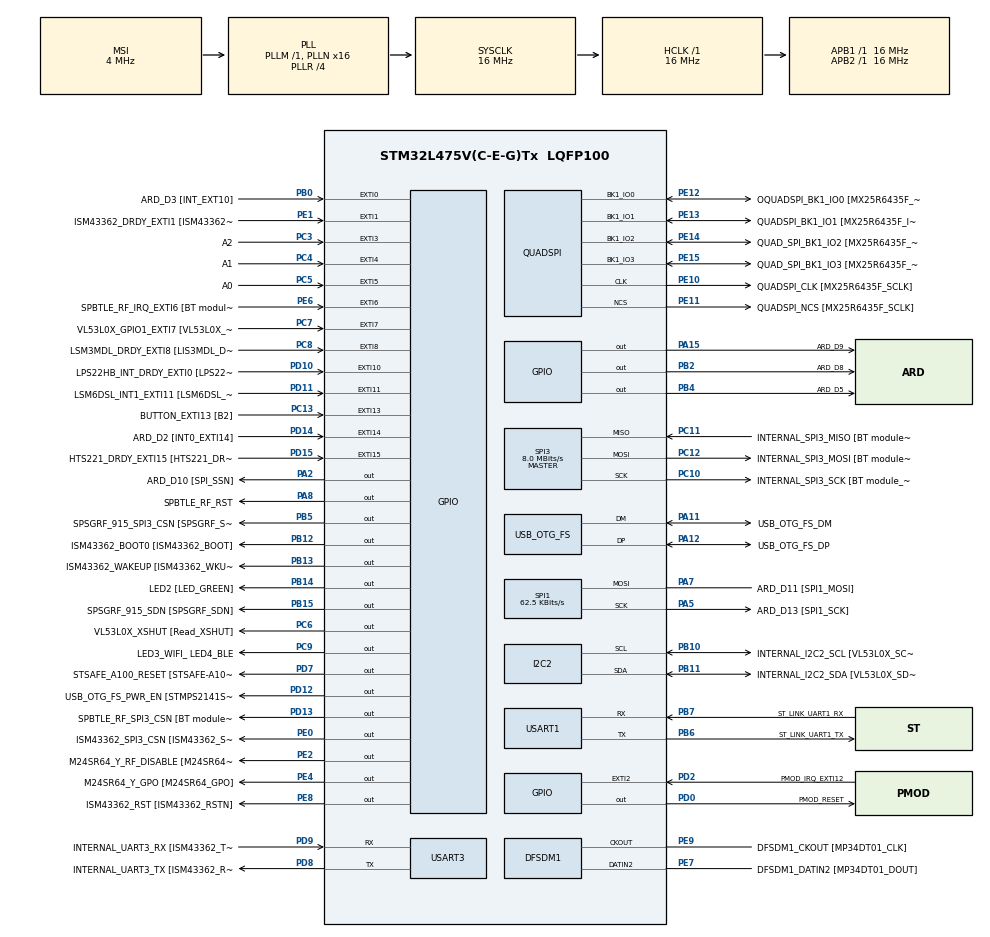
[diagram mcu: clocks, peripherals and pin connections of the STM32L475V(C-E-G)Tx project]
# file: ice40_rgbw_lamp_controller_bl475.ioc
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I2C2.Timing=0x00303D5B
Mcu.Family=STM32L4
Mcu.Name=STM32L475V(C-E-G)Tx
Mcu.Package=LQFP100
NVIC.EXTI15_10_IRQn=true\:0\:0\:false\:false\:true\:true\:true\:true
NVIC.EXTI3_IRQn=true\:0\:0\:false\:false\:true\:true\:true\:true
NVIC.EXTI4_IRQn=true\:0\:0\:false\:false\:true\:true\:true\:true
NVIC.EXTI9_5_IRQn=true\:0\:0\:false\:false\:true\:true\:true\:true
NVIC.PriorityGroup=NVIC_PRIORITYGROUP_4
NVIC.SPI1_IRQn=true\:0\:0\:false\:false\:true\:true\:true\:true
NVIC.USART1_IRQn=true\:0\:0\:false\:false\:true\:true\:true\:true
PA0.GPIO_Label=ARD_D1 [UART4_TX]
PA0.Signal=UART4_TX
PA1.GPIO_Label=ARD_D0 [UART4_RX]
PA1.Signal=UART4_RX
PA10.GPIO_Label=USB_OTG_FS_ID
PA10.Signal=USB_OTG_FS_ID
PA11.GPIO_Label=USB_OTG_FS_DM
PA11.Mode=Device_Only
PA11.Signal=USB_OTG_FS_DM
PA12.GPIO_Label=USB_OTG_FS_DP
PA12.Mode=Device_Only
PA12.Signal=USB_OTG_FS_DP
PA13\ (JTMS-SWDIO).GPIO_Label=SYS_JTMS_SWDIO
PA13\ (JTMS-SWDIO).Mode=Serial_Wire
PA13\ (JTMS-SWDIO).Signal=SYS_JTMS-SWDIO
PA14\ (JTCK-SWCLK).GPIO_Label=SYS_JTCK_SWCLK
PA14\ (JTCK-SWCLK).Mode=Serial_Wire
PA14\ (JTCK-SWCLK).Signal=SYS_JTCK-SWCLK
PA15\ (JTDI).GPIO_Label=ARD_D9
PA15\ (JTDI).Signal=GPIO_Output
PA2.GPIO_Label=ARD_D10 [SPI_SSN]
PA2.Signal=GPIO_Output
PA3.GPIO_Label=ARD_D4
PA3.Signal=S_TIM2_CH4
PA4.GPIO_Label=ARD_D7
PA4.Signal=ADCx_IN9
PA5.GPIO_Label=ARD_D13 [SPI1_SCK]
PA5.Mode=Simplex_Bidirectional_Master
PA5.Signal=SPI1_SCK
PA6.GPIO_Label=ARD_D12 [SPI1_MISO]
PA6.Signal=SPI1_MISO
PA7.GPIO_Label=ARD_D11 [SPI1_MOSI]
PA7.Mode=Simplex_Bidirectional_Master
PA7.Signal=SPI1_MOSI
PA8.GPIO_Label=SPBTLE_RF_RST
PA8.Signal=GPIO_Output
PA9.GPIO_Label=USB_OTG_FS_VBUS [STMPS2141STR_OUT]
PA9.Signal=USB_OTG_FS_VBUS
PB0.GPIO_Label=ARD_D3 [INT_EXT10]
PB0.Signal=GPXTI0
PB1.GPIO_Label=ARD_D6 [ADC1_IN6]
PB1.Signal=ADCx_IN16
PB10.GPIO_Label=INTERNAL_I2C2_SCL [VL53L0X_SCL]
PB10.GPIO_Pu=GPIO_PULLUP
PB10.Mode=I2C
PB10.Signal=I2C2_SCL
PB11.GPIO_Label=INTERNAL_I2C2_SDA [VL53L0X_SDA]
PB11.GPIO_Pu=GPIO_PULLUP
PB11.Mode=I2C
PB11.Signal=I2C2_SDA
PB12.GPIO_Label=ISM43362_BOOT0 [ISM43362_BOOT]
PB12.Signal=GPIO_Output
PB13.GPIO_Label=ISM43362_WAKEUP [ISM43362_WKUP]
PB13.Signal=GPIO_Output
PB14.GPIO_Label=LED2 [LED_GREEN]
PB14.Signal=GPIO_Output
PB15.GPIO_Label=SPSGRF_915_SDN [SPSGRF_SDN]
PB15.Signal=GPIO_Output
PB2.GPIO_Label=ARD_D8
PB2.PinState=GPIO_PIN_SET
PB2.Signal=GPIO_Output
PB3\ (JTDO-TRACESWO).GPIO_Label=SYS_JTD0_SWO
PB3\ (JTDO-TRACESWO).Signal=SYS_JTDO-SWO
PB4\ (NJTRST).GPIO_Label=ARD_D5
PB4\ (NJTRST).Signal=GPIO_Output
PB5.GPIO_Label=SPSGRF_915_SPI3_CSN [SPSGRF_SPI_CS]
PB5.PinState=GPIO_PIN_SET
PB5.Signal=GPIO_Output
PB6.GPIO_Label=ST_LINK_UART1_TX
PB6.Mode=Asynchronous
PB6.Signal=USART1_TX
PB7.GPIO_Label=ST_LINK_UART1_RX
PB7.Mode=Asynchronous
PB7.Signal=USART1_RX
PB8.GPIO_Label=ARD_D15 [I2C1_SCL]
PB8.Signal=I2C1_SCL
PB9.GPIO_Label=ARD_D14 [I2C1_SDA]
PB9.Signal=I2C1_SDA
PC0.GPIO_Label=ARD_A5 [ADC]
PC0.Signal=ADCx_IN1
PC1.GPIO_Label=ARD_A4 [ADC]
PC1.Signal=ADCx_IN2
PC10.GPIO_Label=INTERNAL_SPI3_SCK [BT module_SPI_SCLK] [ISM43362_SCK]
PC10.Mode=Full_Duplex_Master
PC10.Signal=SPI3_SCK
PC11.GPIO_Label=INTERNAL_SPI3_MISO [BT module_SPI_MISO] [ISM43362_MISO]
PC11.Mode=Full_Duplex_Master
PC11.Signal=SPI3_MISO
PC12.GPIO_Label=INTERNAL_SPI3_MOSI [BT module_SPI_MOSI] [ISM43362_MOSI]
PC12.Mode=Full_Duplex_Master
PC12.Signal=SPI3_MOSI
PC13.GPIO_Label=BUTTON_EXTI13 [B2]
PC13.GPIO_ModeDefaultEXTI=GPIO_MODE_IT_FALLING
PC13.Signal=GPXTI13
PC14-OSC32_IN\ (PC14).Mode=LSE-External-Oscillator
PC14-OSC32_IN\ (PC14).Signal=RCC_OSC32_IN
PC15-OSC32_OUT\ (PC15).Mode=LSE-External-Oscillator
PC15-OSC32_OUT\ (PC15).Signal=RCC_OSC32_OUT
PC2.GPIO_Label=ARD_A3 [ADC]
PC2.Signal=ADCx_IN3
PC3.GPIO_Label=A2
PC3.GPIO_ModeDefaultEXTI=GPIO_MODE_IT_FALLING
PC3.GPIO_PuPd=GPIO_PULLUP
PC3.Signal=GPXTI3
PC4.GPIO_Label=A1
PC4.GPIO_ModeDefaultEXTI=GPIO_MODE_IT_FALLING
PC4.GPIO_PuPd=GPIO_PULLUP
PC4.Signal=GPXTI4
PC5.GPIO_Label=A0
PC5.GPIO_ModeDefaultEXTI=GPIO_MODE_IT_FALLING
PC5.GPIO_PuPd=GPIO_PULLUP
PC5.Signal=GPXTI5
PC6.GPIO_Label=VL53L0X_XSHUT [Read_XSHUT]
PC6.Signal=GPIO_Output
PC7.GPIO_Label=VL53L0X_GPIO1_EXTI7 [VL53L0X_GPIO1]
PC7.Signal=GPXTI7
PC8.GPIO_Label=LSM3MDL_DRDY_EXTI8 [LIS3MDL_DRDY]
PC8.Signal=GPXTI8
PC9.GPIO_Label=LED3_WIFI_ LED4_BLE
PC9.Signal=GPIO_Output
PD0.GPIO_Label=PMOD_RESET
PD0.Signal=GPIO_Output
PD1.GPIO_Label=PMOD_SPI2_SCK
PD1.Signal=SPI2_SCK
PD10.GPIO_Label=LPS22HB_INT_DRDY_EXTI0 [LPS22HB_INT_DRDY] 
PD10.Signal=GPXTI10
PD11.GPIO_Label=LSM6DSL_INT1_EXTI11 [LSM6DSL_INT1]
PD11.Signal=GPXTI11
PD12.GPIO_Label=USB_OTG_FS_PWR_EN [STMPS2141STR_EN]
PD12.Signal=GPIO_Output
PD13.GPIO_Label=SPBTLE_RF_SPI3_CSN [BT module_SPI_CS]
PD13.PinState=GPIO_PIN_SET
PD13.Signal=GPIO_Output
PD14.GPIO_Label=ARD_D2 [INT0_EXTI14]
PD14.Signal=GPXTI14
PD15.GPIO_Label=HTS221_DRDY_EXTI15 [HTS221_DRDY]
PD15.Signal=GPXTI15
PD2.GPIO_Label=PMOD_IRQ_EXTI12
PD2.Signal=GPXTI2
PD3.GPIO_Label=PMOD_UART2_CTS
PD3.Signal=USART2_CTS
PD4.GPIO_Label=PMOD_UART2_RTS
PD4.Signal=USART2_RTS
PD5.GPIO_Label=PMOD_UART2_TX
PD5.Signal=USART2_TX
PD6.GPIO_Label=PMOD_UART2_RX
PD6.Signal=USART2_RX
PD7.GPIO_Label=STSAFE_A100_RESET [STSAFE-A100_RESET]
PD7.Signal=GPIO_Output
PD8.GPIO_Label=INTERNAL_UART3_TX [ISM43362_RX]
PD8.Mode=Asynchronous
PD8.Signal=USART3_TX
PD9.GPIO_Label=INTERNAL_UART3_RX [ISM43362_TX]
PD9.Mode=Asynchronous
PD9.Signal=USART3_RX
PE0.GPIO_Label=ISM43362_SPI3_CSN [ISM43362_SSN]
PE0.PinState=GPIO_PIN_SET
PE0.Signal=GPIO_Output
PE1.GPIO_Label=ISM43362_DRDY_EXTI1 [ISM43362_DATARDY]
PE1.Signal=GPXTI1
PE10.GPIO_Label=QUADSPI_CLK [MX25R6435F_SCLK]
PE10.Mode=Single Bank
PE10.Signal=QUADSPI_CLK
PE11.GPIO_Label=QUADSPI_NCS [MX25R6435F_SCLK]
PE11.Mode=Single Bank
PE11.Signal=QUADSPI_NCS
PE12.GPIO_Label=OQUADSPI_BK1_IO0 [MX25R6435F_IO0]
PE12.Mode=Single Bank
PE12.Signal=QUADSPI_BK1_IO0
PE13.GPIO_Label=QUADSPI_BK1_IO1 [MX25R6435F_IO1]
PE13.Mode=Single Bank
PE13.Signal=QUADSPI_BK1_IO1
PE14.GPIO_Label=QUAD_SPI_BK1_IO2 [MX25R6435F_IO2]
PE14.Mode=Single Bank
PE14.Signal=QUADSPI_BK1_IO2
PE15.GPIO_Label=QUAD_SPI_BK1_IO3 [MX25R6435F_IO3]
PE15.Mode=Single Bank
PE15.Signal=QUADSPI_BK1_IO3
PE2.GPIO_Label=M24SR64_Y_RF_DISABLE [M24SR64_RFDIS]
PE2.Signal=GPIO_Output
PE4.GPIO_Label=M24SR64_Y_GPO [M24SR64_GPO]
PE4.Signal=GPIO_Output
PE6.GPIO_Label=SPBTLE_RF_IRQ_EXTI6 [BT module_SPI_IRQ]
PE6.Signal=GPXTI6
PE7.GPIO_Label=DFSDM1_DATIN2 [MP34DT01_DOUT]
PE7.Signal=S_DATAIN2DFSDM1
PE8.GPIO_Label=ISM43362_RST [ISM43362_RSTN]
PE8.Signal=GPIO_Output
PE9.GPIO_Label=DFSDM1_CKOUT [MP34DT01_CLK]
PE9.Signal=S_CKOUTDFSDM1
ProjectManager.HeapSize=0x200
ProjectManager.StackSize=0x400
ProjectManager.TargetToolchain=STM32CubeIDE
QUADSPI.ClockPrescaler=2
QUADSPI.FifoThreshold=4
QUADSPI.FlashSize=23
QUADSPI.SampleShifting=QSPI_SAMPLE_SHIFTING_HALFCYCLE
RCC.ADCFreq_Value=48000000
RCC.AHBFreq_Value=16000000
RCC.APB1Freq_Value=16000000
RCC.APB1TimFreq_Value=16000000
RCC.APB2Freq_Value=16000000
RCC.APB2TimFreq_Value=16000000
RCC.CortexFreq_Value=16000000
RCC.HCLKFreq_Value=16000000
RCC.HSE_VALUE=8000000
RCC.HSI_VALUE=16000000
RCC.MSI_VALUE=4000000
RCC.PLLN=16
RCC.PLLR=RCC_PLLR_DIV4
RCC.PLLSAI1N=24
RCC.SYSCLKFreq_VALUE=16000000
RCC.SYSCLKSource=RCC_SYSCLKSOURCE_PLLCLK
RCC.USBFreq_Value=48000000
RCC.VCOOutputFreq_Value=64000000
SH.ADCx_IN1.0=ADC1_IN1
SH.ADCx_IN16.0=ADC1_IN16
SH.ADCx_IN2.0=ADC1_IN2
SH.ADCx_IN3.0=ADC1_IN3
SH.ADCx_IN9.0=ADC1_IN9
SH.S_CKOUTDFSDM1.0=DFSDM1_CKOUT,CKOUT
SH.S_CKOUTDFSDM1.1=DFSDM1_CKOUT,PDM_SPI_Input_from_ch12_and_Internal_Clock
SH.S_DATAIN2DFSDM1.0=DFSDM1_DATIN2,PDM_SPI_Input_from_ch12_and_Internal_Clock
SH.S_TIM2_CH4.0=TIM2_CH4
SPI1.BaudRatePrescaler=SPI_BAUDRATEPRESCALER_256
SPI1.CalculateBaudRate=62.5 KBits/s
SPI1.DataSize=SPI_DATASIZE_8BIT
SPI1.Direction=SPI_DIRECTION_1LINE
SPI1.Mode=SPI_MODE_MASTER
SPI1.VirtualType=VM_MASTER
SPI3.CalculateBaudRate=8.0 MBits/s
SPI3.Direction=SPI_DIRECTION_2LINES
SPI3.Mode=SPI_MODE_MASTER
SPI3.VirtualType=VM_MASTER
USART1.VirtualMode-Asynchronous=VM_ASYNC
USART3.VirtualMode-Asynchronous=VM_ASYNC
USB_OTG_FS.VirtualMode=Device_Only
board=B-L475E-IOT01A2

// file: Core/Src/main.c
/* USER CODE BEGIN Header */
/**
 ******************************************************************************
 * @file           : main.c
 * @brief          : Main program body
 ******************************************************************************
 * @attention
 *
 * Copyright (c) 2024 STMicroelectronics.
 * All rights reserved.
 *
 * This software is licensed under terms that can be found in the LICENSE file
 * in the root directory of this software component.
 * If no LICENSE file comes with this software, it is provided AS-IS.
 *
 ******************************************************************************
 */
/* USER CODE END Header */
#include "main.h"

/* USER CODE BEGIN PTD */

/* Define disponibili al sistema */

#define LAMP_DATA_START_POS 0
#define LAMP_DATA_W_POS (5-1)
#define LAMP_DATA_R_POS (2-1)
#define LAMP_DATA_G_POS (3-1)
#define LAMP_DATA_B_POS (4-1)
#define LAMP_DATA_BLOCK_IFC_POS (1-1)
#define LAMP_DATA_LINT_POS (6-1)
#define LAMP_DATA_RES_0_POS (7-1)
#define LAMP_DATA_RES_1_POS (8-1)
#define LAMP_DATA_END_POS 9
#define LAMP_DATA_ADC_COLOR_SLOT 42 // the answer to everything
#define LAMP_DATA_MAX_LINT 255
#define LAMP_DATA_MAX_WHITE 255

#define LAMP_DATA_ADC_CONST 4
#define LAMP_DATA_ADC_THR 2
#define LAMP_DATA_MAX_PWM 255
//#define ADC_THR_N -4

#define LAMP_TERM_FLAG_START_CHAR 0x24 //ascii $
#define LAMP_TERM_FLAG_STOP_CHAR 0x23 //ascii #
#define LAMP_TERM_CMD_MAX_LEN 10
#define LAMP_TERM_MARKER_CHAR 0x2E // ascii .
#define LAMP_TERM_PAYLOAD_LEN (10-1)
#define LAMP_TERM_BUFF_LEN (LAMP_TERM_PAYLOAD_LEN*2)-2

#define DEBOUNCE_TIME 30
#define PRESSED 0
#define NOT_PRESSED 1

/* Assgnazione bottoni */
#define  BUTTON_MAIN 0
//#define BUTTON_INCREMENT_LIGHT 0
//#define BUTTON_DECREMENT_LIGHT 1
#define TOTAL_BUTTONS 1

// Gestione analogiche
#define VUSB 1
#define VMAIN 0

#define cbi(sfr, bit) (_SFR_BYTE(sfr) &= ~_BV(bit))
#define sbi(sfr, bit) (_SFR_BYTE(sfr) |= _BV(bit))
#define ASYNC 0
#define NO_PARITY 0
#define STOP_BIT1 0
#define DATA_8BIT 0x06
#define SYSTEM_BAUD 19200

enum {
	readBtn, uartMode, readEnc, interpret, apply
};
/* USER CODE END PTD */

DFSDM_Channel_HandleTypeDef hdfsdm1_channel1;

I2C_HandleTypeDef hi2c2;

QSPI_HandleTypeDef hqspi;

SPI_HandleTypeDef hspi1;
SPI_HandleTypeDef hspi3;

UART_HandleTypeDef huart1;
UART_HandleTypeDef huart3;

PCD_HandleTypeDef hpcd_USB_OTG_FS;

/* USER CODE BEGIN PV */
static uint8_t rxComplete;
static uint8_t odd_updated = 0;
static uint16_t i;
static uint8_t rxStartLen;
uint8_t ch[1];
static uint8_t rxBuffer[LAMP_TERM_PAYLOAD_LEN], spiBuffer[8];

uint8_t btn_increment;
uint8_t btn_decrement;
uint8_t colorIndex = 0x12;
static uint8_t userMode;
static uint8_t state = readBtn;
static uint8_t mode = 0, lock = 0;

static unsigned char lamp_c2h(unsigned char msb, unsigned char lsb) {
	if ((msb < 'a' && msb > '9') || msb < '0' || msb > 'f'
			|| (lsb < 'a' && lsb > '9') || lsb < '0' || lsb > 'f') {
		// printf("Not HEX value. msb: %c, lsb: %c\n", msb, lsb);
		return 0;
	}
	if (msb >= 'a' && msb <= 'f') {
		msb = msb - 'a' + 10;
	} else {
		msb = msb - '0';
	}

	if (lsb >= 'a' && lsb <= 'f') {
		lsb = lsb - 'a' + 10;
	} else {
		lsb = lsb - '0';
	}
	return (lsb + (msb * 16));
}

static void spiFill(uint8_t id, uint8_t *data) {
	if (*data == 0x55)
		(*data)++;
	spiBuffer[id] = *data;
}

/* USER CODE END PV */

void SystemClock_Config(void);
static void MX_GPIO_Init(void);
static void MX_DFSDM1_Init(void);
static void MX_I2C2_Init(void);
static void MX_QUADSPI_Init(void);
static void MX_SPI3_Init(void);
static void MX_USART1_UART_Init(void);
static void MX_USART3_UART_Init(void);
static void MX_USB_OTG_FS_PCD_Init(void);
static void MX_SPI1_Init(void);
/* USER CODE BEGIN PFP */
uint8_t text[1];
uint8_t buffer_checker[32];
uint8_t cnt = 0;
/* USER CODE END PFP */

/* USER CODE BEGIN 0 */

void HAL_GPIO_EXTI_Callback(uint16_t GPIO_Pin) {

	if (GPIO_Pin == A0_Pin) {
		if (!lock)
			userMode = (userMode + 1);
		lock = 1;
		if (userMode == 3)
			userMode = 0;

		rxComplete = 0;
	}
	if (GPIO_Pin == A1_Pin) {
		btn_decrement = 3;
		rxComplete = 0;
	}
	if (GPIO_Pin == A2_Pin) {
		btn_increment = 3;
		rxComplete = 0;
	}

}

void HAL_UART_RxCpltCallback(UART_HandleTypeDef *huart) {

	rxBuffer[rxStartLen] = *(ch);
	HAL_UART_Receive_IT(&huart1, ch, 1);
	if (rxBuffer[rxStartLen] == LAMP_TERM_FLAG_START_CHAR) {
		rxStartLen = 0;
		odd_updated = 0;
	}

	else if ((((rxBuffer[rxStartLen] == LAMP_TERM_FLAG_STOP_CHAR)
			&& (rxStartLen == 0))
			|| (rxBuffer[rxStartLen] == LAMP_TERM_MARKER_CHAR))) {
		// Ignora il carattere
		asm("nop");

	} else if (rxBuffer[rxStartLen] == LAMP_TERM_FLAG_STOP_CHAR) {
		rxComplete = 1;
	} else {
		if (rxBuffer[rxStartLen] != LAMP_TERM_FLAG_STOP_CHAR) {
			odd_updated++;
			if (odd_updated == 2) {
				if (rxStartLen > 2) {
					asm("nop");
				}
				rxBuffer[rxStartLen - 1] = lamp_c2h(rxBuffer[rxStartLen - 1],
						rxBuffer[rxStartLen]);

				odd_updated = 0;
				rxStartLen--;
			}
			rxStartLen++;

		} else {

			rxComplete = 1;
			// no dummy read needed
			rxStartLen = 0;
		}
	}
}
/* USER CODE END 0 */

int main(void)
{

  /* MCU Configuration--------------------------------------------------------*/

  /* Reset of all peripherals, Initializes the Flash interface and the Systick. */
  HAL_Init();

  /* Configure the system clock */
  SystemClock_Config();

  /* Initialize all configured peripherals */
  MX_GPIO_Init();
  MX_DFSDM1_Init();
  MX_I2C2_Init();
  MX_QUADSPI_Init();
  MX_SPI3_Init();
  MX_USART1_UART_Init();
  MX_USART3_UART_Init();
  MX_USB_OTG_FS_PCD_Init();
  MX_SPI1_Init();
  /* USER CODE BEGIN 2 */
	HAL_UART_Receive_IT(&huart1, ch, 1);
  /* USER CODE END 2 */

  /* Infinite loop */
  /* USER CODE BEGIN WHILE */
	//lamp_c2h(rxBuffer[rxStartLen]);
	while (1) {

		if (rxComplete == 1) {
			// state = uartMode;
			mode = 0x21;
			mode = rxBuffer[LAMP_DATA_RES_1_POS];
			colorIndex = rxBuffer[LAMP_DATA_RES_0_POS];
			// state = interpret;
			// case interpret:

			/* 30 byte SPI lib */
			/* TX -> colorIndex, R, G, B, W, Lint, MODE(usa color index o rgbw) */
			/*RX -> niente. */
			//mode = 0xa4;
			spiBuffer[0] = 0x55;
			spiFill(1, &rxBuffer[LAMP_DATA_LINT_POS]);
			//spiFill(1, &l);
			spiFill(2, &colorIndex);
			spiFill(3, &rxBuffer[LAMP_DATA_R_POS]);
			spiFill(4, &rxBuffer[LAMP_DATA_G_POS]);
			spiFill(5, &rxBuffer[LAMP_DATA_B_POS]);
			spiFill(6, &rxBuffer[LAMP_DATA_W_POS]);
	//		spiFill(3, &r);
	//		spiFill(4, &g);
	//		spiFill(5, &b);
	//		spiFill(6, &w);
			spiFill(7, &mode);
	#if 1
			HAL_GPIO_WritePin(GPIOB, ARD_D8_Pin, GPIO_PIN_RESET);
			//for (i = 0; i <= 7; i++) {
			//SPDR = spiBuffer[i];
			HAL_SPI_Transmit(&hspi1, spiBuffer, 8, HAL_MAX_DELAY);
			//while (!(SPSR & (1 << SPIF))) {
			//	SPSR |= (1 << SPIF);
			//};
			//}
			HAL_GPIO_WritePin(GPIOB, ARD_D8_Pin, GPIO_PIN_SET);
			rxComplete = 0;
	#endif

		} else {
			if (rxComplete == 0) {
				//state = readEnc;
				switch (userMode) {
				case 0:
					//lamp_colorHandler(&sys.colorIndex, (LAMP_DATA_ADC_COLOR_SLOT*6));
					//lamp_handler(&sys.colorIndex, (LAMP_DATA_ADC_COLOR_SLOT*6));
					//  if (btn_decrement > 0 || btn_increment > 0)
					//  {
					colorIndex = colorIndex + btn_increment - btn_decrement;
					//  }

					break;

				case 1:
					//lamp_intensityHandler();
					//lamp_handler(&sys.RxBuffer[LAMP_DATA_LINT_POS], LAMP_DATA_MAX_LINT);

					rxBuffer[LAMP_DATA_LINT_POS] = (rxBuffer[LAMP_DATA_LINT_POS]
							+ btn_increment - btn_decrement);

					break;

				case 2:
					//lamp_whiteHandler();
					//lamp_handler(&sys.rxBuffer[LAMP_DATA_W_POS], LAMP_DATA_MAX_WHITE);

					rxBuffer[LAMP_DATA_W_POS] = (rxBuffer[LAMP_DATA_W_POS]
							+ btn_increment - btn_decrement);
					if (rxBuffer[LAMP_DATA_W_POS] < 7)
						rxBuffer[LAMP_DATA_W_POS] = 0;
					break;
				}
				btn_decrement = btn_increment = 0;
				mode = 0xa4;
				//state = interpret;
			}
		}

		state = readBtn;
		lock = 0;
		// break;

		// default:
		//break;
		//}
		// $00.rr.gg.bb.ww.19.00.00#
    /* USER CODE END WHILE */

	}
}

void SystemClock_Config(void)
{
  RCC_OscInitTypeDef RCC_OscInitStruct = {0};
  RCC_ClkInitTypeDef RCC_ClkInitStruct = {0};

  /** Configure the main internal regulator output voltage
  */
  if (HAL_PWREx_ControlVoltageScaling(PWR_REGULATOR_VOLTAGE_SCALE1) != HAL_OK)
  {
    Error_Handler();
  }

  /** Configure LSE Drive Capability
  */
  HAL_PWR_EnableBkUpAccess();
  __HAL_RCC_LSEDRIVE_CONFIG(RCC_LSEDRIVE_LOW);

  /** Initializes the RCC Oscillators according to the specified parameters
  * in the RCC_OscInitTypeDef structure.
  */
  RCC_OscInitStruct.OscillatorType = RCC_OSCILLATORTYPE_LSE|RCC_OSCILLATORTYPE_MSI;
  RCC_OscInitStruct.LSEState = RCC_LSE_ON;
  RCC_OscInitStruct.MSIState = RCC_MSI_ON;
  RCC_OscInitStruct.MSICalibrationValue = 0;
  RCC_OscInitStruct.MSIClockRange = RCC_MSIRANGE_6;
  RCC_OscInitStruct.PLL.PLLState = RCC_PLL_ON;
  RCC_OscInitStruct.PLL.PLLSource = RCC_PLLSOURCE_MSI;
  RCC_OscInitStruct.PLL.PLLM = 1;
  RCC_OscInitStruct.PLL.PLLN = 16;
  RCC_OscInitStruct.PLL.PLLP = RCC_PLLP_DIV7;
  RCC_OscInitStruct.PLL.PLLQ = RCC_PLLQ_DIV2;
  RCC_OscInitStruct.PLL.PLLR = RCC_PLLR_DIV4;
  if (HAL_RCC_OscConfig(&RCC_OscInitStruct) != HAL_OK)
  {
    Error_Handler();
  }

  /** Initializes the CPU, AHB and APB buses clocks
  */
  RCC_ClkInitStruct.ClockType = RCC_CLOCKTYPE_HCLK|RCC_CLOCKTYPE_SYSCLK
                              |RCC_CLOCKTYPE_PCLK1|RCC_CLOCKTYPE_PCLK2;
  RCC_ClkInitStruct.SYSCLKSource = RCC_SYSCLKSOURCE_PLLCLK;
  RCC_ClkInitStruct.AHBCLKDivider = RCC_SYSCLK_DIV1;
  RCC_ClkInitStruct.APB1CLKDivider = RCC_HCLK_DIV1;
  RCC_ClkInitStruct.APB2CLKDivider = RCC_HCLK_DIV1;

  if (HAL_RCC_ClockConfig(&RCC_ClkInitStruct, FLASH_LATENCY_0) != HAL_OK)
  {
    Error_Handler();
  }

  /** Enable MSI Auto calibration
  */
  HAL_RCCEx_EnableMSIPLLMode();
}

static void MX_DFSDM1_Init(void)
{

  hdfsdm1_channel1.Instance = DFSDM1_Channel1;
  hdfsdm1_channel1.Init.OutputClock.Activation = ENABLE;
  hdfsdm1_channel1.Init.OutputClock.Selection = DFSDM_CHANNEL_OUTPUT_CLOCK_SYSTEM;
  hdfsdm1_channel1.Init.OutputClock.Divider = 2;
  hdfsdm1_channel1.Init.Input.Multiplexer = DFSDM_CHANNEL_EXTERNAL_INPUTS;
  hdfsdm1_channel1.Init.Input.DataPacking = DFSDM_CHANNEL_STANDARD_MODE;
  hdfsdm1_channel1.Init.Input.Pins = DFSDM_CHANNEL_FOLLOWING_CHANNEL_PINS;
  hdfsdm1_channel1.Init.SerialInterface.Type = DFSDM_CHANNEL_SPI_RISING;
  hdfsdm1_channel1.Init.SerialInterface.SpiClock = DFSDM_CHANNEL_SPI_CLOCK_INTERNAL;
  hdfsdm1_channel1.Init.Awd.FilterOrder = DFSDM_CHANNEL_FASTSINC_ORDER;
  hdfsdm1_channel1.Init.Awd.Oversampling = 1;
  hdfsdm1_channel1.Init.Offset = 0;
  hdfsdm1_channel1.Init.RightBitShift = 0x00;
  if (HAL_DFSDM_ChannelInit(&hdfsdm1_channel1) != HAL_OK)
  {
    Error_Handler();
  }

}

static void MX_I2C2_Init(void)
{

  hi2c2.Instance = I2C2;
  hi2c2.Init.Timing = 0x00303D5B;
  hi2c2.Init.OwnAddress1 = 0;
  hi2c2.Init.AddressingMode = I2C_ADDRESSINGMODE_7BIT;
  hi2c2.Init.DualAddressMode = I2C_DUALADDRESS_DISABLE;
  hi2c2.Init.OwnAddress2 = 0;
  hi2c2.Init.OwnAddress2Masks = I2C_OA2_NOMASK;
  hi2c2.Init.GeneralCallMode = I2C_GENERALCALL_DISABLE;
  hi2c2.Init.NoStretchMode = I2C_NOSTRETCH_DISABLE;
  if (HAL_I2C_Init(&hi2c2) != HAL_OK)
  {
    Error_Handler();
  }

  /** Configure Analogue filter
  */
  if (HAL_I2CEx_ConfigAnalogFilter(&hi2c2, I2C_ANALOGFILTER_ENABLE) != HAL_OK)
  {
    Error_Handler();
  }

  /** Configure Digital filter
  */
  if (HAL_I2CEx_ConfigDigitalFilter(&hi2c2, 0) != HAL_OK)
  {
    Error_Handler();
  }

}

static void MX_QUADSPI_Init(void)
{

  /* QUADSPI parameter configuration*/
  hqspi.Instance = QUADSPI;
  hqspi.Init.ClockPrescaler = 2;
  hqspi.Init.FifoThreshold = 4;
  hqspi.Init.SampleShifting = QSPI_SAMPLE_SHIFTING_HALFCYCLE;
  hqspi.Init.FlashSize = 23;
  hqspi.Init.ChipSelectHighTime = QSPI_CS_HIGH_TIME_1_CYCLE;
  hqspi.Init.ClockMode = QSPI_CLOCK_MODE_0;
  if (HAL_QSPI_Init(&hqspi) != HAL_OK)
  {
    Error_Handler();
  }

}

static void MX_SPI1_Init(void)
{

  /* SPI1 parameter configuration*/
  hspi1.Instance = SPI1;
  hspi1.Init.Mode = SPI_MODE_MASTER;
  hspi1.Init.Direction = SPI_DIRECTION_1LINE;
  hspi1.Init.DataSize = SPI_DATASIZE_8BIT;
  hspi1.Init.CLKPolarity = SPI_POLARITY_LOW;
  hspi1.Init.CLKPhase = SPI_PHASE_1EDGE;
  hspi1.Init.NSS = SPI_NSS_SOFT;
  hspi1.Init.BaudRatePrescaler = SPI_BAUDRATEPRESCALER_256;
  hspi1.Init.FirstBit = SPI_FIRSTBIT_MSB;
  hspi1.Init.TIMode = SPI_TIMODE_DISABLE;
  hspi1.Init.CRCCalculation = SPI_CRCCALCULATION_DISABLE;
  hspi1.Init.CRCPolynomial = 7;
  hspi1.Init.CRCLength = SPI_CRC_LENGTH_DATASIZE;
  hspi1.Init.NSSPMode = SPI_NSS_PULSE_ENABLE;
  if (HAL_SPI_Init(&hspi1) != HAL_OK)
  {
    Error_Handler();
  }

}

static void MX_SPI3_Init(void)
{

  /* SPI3 parameter configuration*/
  hspi3.Instance = SPI3;
  hspi3.Init.Mode = SPI_MODE_MASTER;
  hspi3.Init.Direction = SPI_DIRECTION_2LINES;
  hspi3.Init.DataSize = SPI_DATASIZE_4BIT;
  hspi3.Init.CLKPolarity = SPI_POLARITY_LOW;
  hspi3.Init.CLKPhase = SPI_PHASE_1EDGE;
  hspi3.Init.NSS = SPI_NSS_SOFT;
  hspi3.Init.BaudRatePrescaler = SPI_BAUDRATEPRESCALER_2;
  hspi3.Init.FirstBit = SPI_FIRSTBIT_MSB;
  hspi3.Init.TIMode = SPI_TIMODE_DISABLE;
  hspi3.Init.CRCCalculation = SPI_CRCCALCULATION_DISABLE;
  hspi3.Init.CRCPolynomial = 7;
  hspi3.Init.CRCLength = SPI_CRC_LENGTH_DATASIZE;
  hspi3.Init.NSSPMode = SPI_NSS_PULSE_ENABLE;
  if (HAL_SPI_Init(&hspi3) != HAL_OK)
  {
    Error_Handler();
  }

}

static void MX_USART1_UART_Init(void)
{

  huart1.Instance = USART1;
  huart1.Init.BaudRate = 115200;
  huart1.Init.WordLength = UART_WORDLENGTH_8B;
  huart1.Init.StopBits = UART_STOPBITS_1;
  huart1.Init.Parity = UART_PARITY_NONE;
  huart1.Init.Mode = UART_MODE_TX_RX;
  huart1.Init.HwFlowCtl = UART_HWCONTROL_NONE;
  huart1.Init.OverSampling = UART_OVERSAMPLING_16;
  huart1.Init.OneBitSampling = UART_ONE_BIT_SAMPLE_DISABLE;
  huart1.AdvancedInit.AdvFeatureInit = UART_ADVFEATURE_NO_INIT;
  if (HAL_UART_Init(&huart1) != HAL_OK)
  {
    Error_Handler();
  }

}

static void MX_USART3_UART_Init(void)
{

  huart3.Instance = USART3;
  huart3.Init.BaudRate = 115200;
  huart3.Init.WordLength = UART_WORDLENGTH_8B;
  huart3.Init.StopBits = UART_STOPBITS_1;
  huart3.Init.Parity = UART_PARITY_NONE;
  huart3.Init.Mode = UART_MODE_TX_RX;
  huart3.Init.HwFlowCtl = UART_HWCONTROL_NONE;
  huart3.Init.OverSampling = UART_OVERSAMPLING_16;
  huart3.Init.OneBitSampling = UART_ONE_BIT_SAMPLE_DISABLE;
  huart3.AdvancedInit.AdvFeatureInit = UART_ADVFEATURE_NO_INIT;
  if (HAL_UART_Init(&huart3) != HAL_OK)
  {
    Error_Handler();
  }

}

static void MX_USB_OTG_FS_PCD_Init(void)
{

  hpcd_USB_OTG_FS.Instance = USB_OTG_FS;
  hpcd_USB_OTG_FS.Init.dev_endpoints = 6;
  hpcd_USB_OTG_FS.Init.speed = PCD_SPEED_FULL;
  hpcd_USB_OTG_FS.Init.phy_itface = PCD_PHY_EMBEDDED;
  hpcd_USB_OTG_FS.Init.Sof_enable = DISABLE;
  hpcd_USB_OTG_FS.Init.low_power_enable = DISABLE;
  hpcd_USB_OTG_FS.Init.lpm_enable = DISABLE;
  hpcd_USB_OTG_FS.Init.battery_charging_enable = DISABLE;
  hpcd_USB_OTG_FS.Init.use_dedicated_ep1 = DISABLE;
  hpcd_USB_OTG_FS.Init.vbus_sensing_enable = DISABLE;
  if (HAL_PCD_Init(&hpcd_USB_OTG_FS) != HAL_OK)
  {
    Error_Handler();
  }

}

static void MX_GPIO_Init(void)
{
  GPIO_InitTypeDef GPIO_InitStruct = {0};

  /* GPIO Ports Clock Enable */
  __HAL_RCC_GPIOE_CLK_ENABLE();
  __HAL_RCC_GPIOC_CLK_ENABLE();
  __HAL_RCC_GPIOA_CLK_ENABLE();
  __HAL_RCC_GPIOB_CLK_ENABLE();
  __HAL_RCC_GPIOD_CLK_ENABLE();

  /*Configure GPIO pin Output Level */
  HAL_GPIO_WritePin(GPIOE, M24SR64_Y_RF_DISABLE_Pin|M24SR64_Y_GPO_Pin|ISM43362_RST_Pin, GPIO_PIN_RESET);

  /*Configure GPIO pin Output Level */
  HAL_GPIO_WritePin(GPIOA, ARD_D10_Pin|SPBTLE_RF_RST_Pin|ARD_D9_Pin, GPIO_PIN_RESET);

  /*Configure GPIO pin Output Level */
  HAL_GPIO_WritePin(GPIOB, ARD_D8_Pin|SPSGRF_915_SPI3_CSN_Pin, GPIO_PIN_SET);

  /*Configure GPIO pin Output Level */
  HAL_GPIO_WritePin(GPIOB, ISM43362_BOOT0_Pin|ISM43362_WAKEUP_Pin|LED2_Pin|SPSGRF_915_SDN_Pin
                          |ARD_D5_Pin, GPIO_PIN_RESET);

  /*Configure GPIO pin Output Level */
  HAL_GPIO_WritePin(GPIOD, USB_OTG_FS_PWR_EN_Pin|PMOD_RESET_Pin|STSAFE_A100_RESET_Pin, GPIO_PIN_RESET);

  /*Configure GPIO pin Output Level */
  HAL_GPIO_WritePin(SPBTLE_RF_SPI3_CSN_GPIO_Port, SPBTLE_RF_SPI3_CSN_Pin, GPIO_PIN_SET);

  /*Configure GPIO pin Output Level */
  HAL_GPIO_WritePin(GPIOC, VL53L0X_XSHUT_Pin|LED3_WIFI__LED4_BLE_Pin, GPIO_PIN_RESET);

  /*Configure GPIO pin Output Level */
  HAL_GPIO_WritePin(ISM43362_SPI3_CSN_GPIO_Port, ISM43362_SPI3_CSN_Pin, GPIO_PIN_SET);

  /*Configure GPIO pins : M24SR64_Y_RF_DISABLE_Pin M24SR64_Y_GPO_Pin ISM43362_RST_Pin ISM43362_SPI3_CSN_Pin */
  GPIO_InitStruct.Pin = M24SR64_Y_RF_DISABLE_Pin|M24SR64_Y_GPO_Pin|ISM43362_RST_Pin|ISM43362_SPI3_CSN_Pin;
  GPIO_InitStruct.Mode = GPIO_MODE_OUTPUT_PP;
  GPIO_InitStruct.Pull = GPIO_NOPULL;
  GPIO_InitStruct.Speed = GPIO_SPEED_FREQ_LOW;
  HAL_GPIO_Init(GPIOE, &GPIO_InitStruct);

  /*Configure GPIO pins : SPBTLE_RF_IRQ_EXTI6_Pin ISM43362_DRDY_EXTI1_Pin */
  GPIO_InitStruct.Pin = SPBTLE_RF_IRQ_EXTI6_Pin|ISM43362_DRDY_EXTI1_Pin;
  GPIO_InitStruct.Mode = GPIO_MODE_IT_RISING;
  GPIO_InitStruct.Pull = GPIO_NOPULL;
  HAL_GPIO_Init(GPIOE, &GPIO_InitStruct);

  /*Configure GPIO pin : BUTTON_EXTI13_Pin */
  GPIO_InitStruct.Pin = BUTTON_EXTI13_Pin;
  GPIO_InitStruct.Mode = GPIO_MODE_IT_FALLING;
  GPIO_InitStruct.Pull = GPIO_NOPULL;
  HAL_GPIO_Init(BUTTON_EXTI13_GPIO_Port, &GPIO_InitStruct);

  /*Configure GPIO pins : ARD_A5_Pin ARD_A4_Pin ARD_A3_Pin */
  GPIO_InitStruct.Pin = ARD_A5_Pin|ARD_A4_Pin|ARD_A3_Pin;
  GPIO_InitStruct.Mode = GPIO_MODE_ANALOG_ADC_CONTROL;
  GPIO_InitStruct.Pull = GPIO_NOPULL;
  HAL_GPIO_Init(GPIOC, &GPIO_InitStruct);

  /*Configure GPIO pins : A2_Pin A1_Pin A0_Pin */
  GPIO_InitStruct.Pin = A2_Pin|A1_Pin|A0_Pin;
  GPIO_InitStruct.Mode = GPIO_MODE_IT_FALLING;
  GPIO_InitStruct.Pull = GPIO_PULLUP;
  HAL_GPIO_Init(GPIOC, &GPIO_InitStruct);

  /*Configure GPIO pins : ARD_D1_Pin ARD_D0_Pin */
  GPIO_InitStruct.Pin = ARD_D1_Pin|ARD_D0_Pin;
  GPIO_InitStruct.Mode = GPIO_MODE_AF_PP;
  GPIO_InitStruct.Pull = GPIO_NOPULL;
  GPIO_InitStruct.Speed = GPIO_SPEED_FREQ_VERY_HIGH;
  GPIO_InitStruct.Alternate = GPIO_AF8_UART4;
  HAL_GPIO_Init(GPIOA, &GPIO_InitStruct);

  /*Configure GPIO pins : ARD_D10_Pin SPBTLE_RF_RST_Pin ARD_D9_Pin */
  GPIO_InitStruct.Pin = ARD_D10_Pin|SPBTLE_RF_RST_Pin|ARD_D9_Pin;
  GPIO_InitStruct.Mode = GPIO_MODE_OUTPUT_PP;
  GPIO_InitStruct.Pull = GPIO_NOPULL;
  GPIO_InitStruct.Speed = GPIO_SPEED_FREQ_LOW;
  HAL_GPIO_Init(GPIOA, &GPIO_InitStruct);

  /*Configure GPIO pin : ARD_D4_Pin */
  GPIO_InitStruct.Pin = ARD_D4_Pin;
  GPIO_InitStruct.Mode = GPIO_MODE_AF_PP;
  GPIO_InitStruct.Pull = GPIO_NOPULL;
  GPIO_InitStruct.Speed = GPIO_SPEED_FREQ_LOW;
  GPIO_InitStruct.Alternate = GPIO_AF1_TIM2;
  HAL_GPIO_Init(ARD_D4_GPIO_Port, &GPIO_InitStruct);

  /*Configure GPIO pin : ARD_D7_Pin */
  GPIO_InitStruct.Pin = ARD_D7_Pin;
  GPIO_InitStruct.Mode = GPIO_MODE_ANALOG_ADC_CONTROL;
  GPIO_InitStruct.Pull = GPIO_NOPULL;
  HAL_GPIO_Init(ARD_D7_GPIO_Port, &GPIO_InitStruct);

  /*Configure GPIO pin : ARD_D3_Pin */
  GPIO_InitStruct.Pin = ARD_D3_Pin;
  GPIO_InitStruct.Mode = GPIO_MODE_IT_RISING;
  GPIO_InitStruct.Pull = GPIO_NOPULL;
  HAL_GPIO_Init(ARD_D3_GPIO_Port, &GPIO_InitStruct);

  /*Configure GPIO pin : ARD_D6_Pin */
  GPIO_InitStruct.Pin = ARD_D6_Pin;
  GPIO_InitStruct.Mode = GPIO_MODE_ANALOG_ADC_CONTROL;
  GPIO_InitStruct.Pull = GPIO_NOPULL;
  HAL_GPIO_Init(ARD_D6_GPIO_Port, &GPIO_InitStruct);

  /*Configure GPIO pins : ARD_D8_Pin ISM43362_BOOT0_Pin ISM43362_WAKEUP_Pin LED2_Pin
                           SPSGRF_915_SDN_Pin ARD_D5_Pin SPSGRF_915_SPI3_CSN_Pin */
  GPIO_InitStruct.Pin = ARD_D8_Pin|ISM43362_BOOT0_Pin|ISM43362_WAKEUP_Pin|LED2_Pin
                          |SPSGRF_915_SDN_Pin|ARD_D5_Pin|SPSGRF_915_SPI3_CSN_Pin;
  GPIO_InitStruct.Mode = GPIO_MODE_OUTPUT_PP;
  GPIO_InitStruct.Pull = GPIO_NOPULL;
  GPIO_InitStruct.Speed = GPIO_SPEED_FREQ_LOW;
  HAL_GPIO_Init(GPIOB, &GPIO_InitStruct);

  /*Configure GPIO pins : LPS22HB_INT_DRDY_EXTI0_Pin LSM6DSL_INT1_EXTI11_Pin ARD_D2_Pin HTS221_DRDY_EXTI15_Pin
                           PMOD_IRQ_EXTI12_Pin */
  GPIO_InitStruct.Pin = LPS22HB_INT_DRDY_EXTI0_Pin|LSM6DSL_INT1_EXTI11_Pin|ARD_D2_Pin|HTS221_DRDY_EXTI15_Pin
                          |PMOD_IRQ_EXTI12_Pin;
  GPIO_InitStruct.Mode = GPIO_MODE_IT_RISING;
  GPIO_InitStruct.Pull = GPIO_NOPULL;
  HAL_GPIO_Init(GPIOD, &GPIO_InitStruct);

  /*Configure GPIO pins : USB_OTG_FS_PWR_EN_Pin SPBTLE_RF_SPI3_CSN_Pin PMOD_RESET_Pin STSAFE_A100_RESET_Pin */
  GPIO_InitStruct.Pin = USB_OTG_FS_PWR_EN_Pin|SPBTLE_RF_SPI3_CSN_Pin|PMOD_RESET_Pin|STSAFE_A100_RESET_Pin;
  GPIO_InitStruct.Mode = GPIO_MODE_OUTPUT_PP;
  GPIO_InitStruct.Pull = GPIO_NOPULL;
  GPIO_InitStruct.Speed = GPIO_SPEED_FREQ_LOW;
  HAL_GPIO_Init(GPIOD, &GPIO_InitStruct);

  /*Configure GPIO pins : VL53L0X_XSHUT_Pin LED3_WIFI__LED4_BLE_Pin */
  GPIO_InitStruct.Pin = VL53L0X_XSHUT_Pin|LED3_WIFI__LED4_BLE_Pin;
  GPIO_InitStruct.Mode = GPIO_MODE_OUTPUT_PP;
  GPIO_InitStruct.Pull = GPIO_NOPULL;
  GPIO_InitStruct.Speed = GPIO_SPEED_FREQ_LOW;
  HAL_GPIO_Init(GPIOC, &GPIO_InitStruct);

  /*Configure GPIO pins : VL53L0X_GPIO1_EXTI7_Pin LSM3MDL_DRDY_EXTI8_Pin */
  GPIO_InitStruct.Pin = VL53L0X_GPIO1_EXTI7_Pin|LSM3MDL_DRDY_EXTI8_Pin;
  GPIO_InitStruct.Mode = GPIO_MODE_IT_RISING;
  GPIO_InitStruct.Pull = GPIO_NOPULL;
  HAL_GPIO_Init(GPIOC, &GPIO_InitStruct);

  /*Configure GPIO pin : PMOD_SPI2_SCK_Pin */
  GPIO_InitStruct.Pin = PMOD_SPI2_SCK_Pin;
  GPIO_InitStruct.Mode = GPIO_MODE_AF_PP;
  GPIO_InitStruct.Pull = GPIO_NOPULL;
  GPIO_InitStruct.Speed = GPIO_SPEED_FREQ_VERY_HIGH;
  GPIO_InitStruct.Alternate = GPIO_AF5_SPI2;
  HAL_GPIO_Init(PMOD_SPI2_SCK_GPIO_Port, &GPIO_InitStruct);

  /*Configure GPIO pins : PMOD_UART2_CTS_Pin PMOD_UART2_RTS_Pin PMOD_UART2_TX_Pin PMOD_UART2_RX_Pin */
  GPIO_InitStruct.Pin = PMOD_UART2_CTS_Pin|PMOD_UART2_RTS_Pin|PMOD_UART2_TX_Pin|PMOD_UART2_RX_Pin;
  GPIO_InitStruct.Mode = GPIO_MODE_AF_PP;
  GPIO_InitStruct.Pull = GPIO_NOPULL;
  GPIO_InitStruct.Speed = GPIO_SPEED_FREQ_VERY_HIGH;
  GPIO_InitStruct.Alternate = GPIO_AF7_USART2;
  HAL_GPIO_Init(GPIOD, &GPIO_InitStruct);

  /*Configure GPIO pins : ARD_D15_Pin ARD_D14_Pin */
  GPIO_InitStruct.Pin = ARD_D15_Pin|ARD_D14_Pin;
  GPIO_InitStruct.Mode = GPIO_MODE_AF_OD;
  GPIO_InitStruct.Pull = GPIO_NOPULL;
  GPIO_InitStruct.Speed = GPIO_SPEED_FREQ_VERY_HIGH;
  GPIO_InitStruct.Alternate = GPIO_AF4_I2C1;
  HAL_GPIO_Init(GPIOB, &GPIO_InitStruct);

  /* EXTI interrupt init*/
  HAL_NVIC_SetPriority(EXTI3_IRQn, 0, 0);
  HAL_NVIC_EnableIRQ(EXTI3_IRQn);

  HAL_NVIC_SetPriority(EXTI4_IRQn, 0, 0);
  HAL_NVIC_EnableIRQ(EXTI4_IRQn);

  HAL_NVIC_SetPriority(EXTI9_5_IRQn, 0, 0);
  HAL_NVIC_EnableIRQ(EXTI9_5_IRQn);

  HAL_NVIC_SetPriority(EXTI15_10_IRQn, 0, 0);
  HAL_NVIC_EnableIRQ(EXTI15_10_IRQn);

}

void Error_Handler(void)
{
	__disable_irq();
	while (1) {
	}
}
